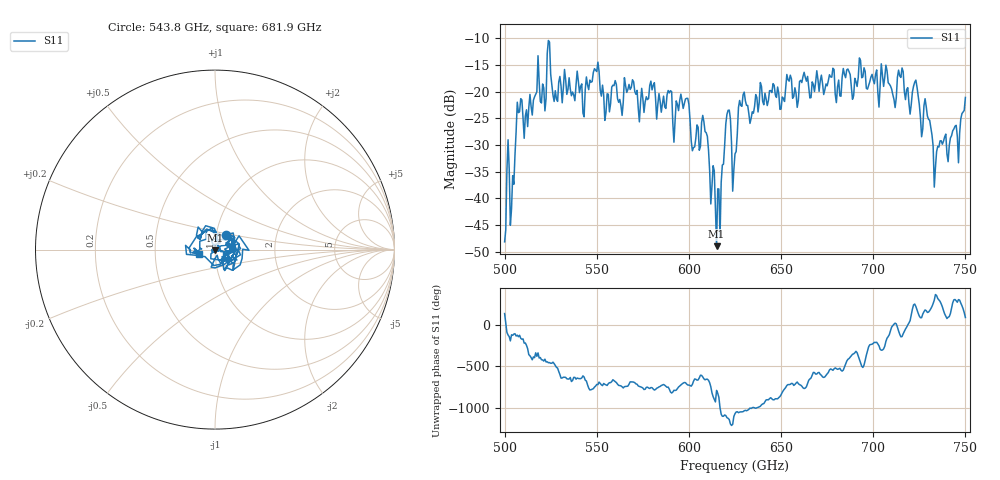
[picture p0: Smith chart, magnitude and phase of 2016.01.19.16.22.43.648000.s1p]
!Created with skrf (http://scikit-rf.org).
# GHz S RI R 50.0
!freq ReS11 ImS11
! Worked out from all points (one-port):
!   401 points, 500 GHz to 750 GHz, reference 50 ohm
!   lowest |S11| = -48.9 dB at 615 GHz (marker M1), VSWR 1.01, Z = 50.1 - j0.339 ohm
!   |S11| at or under -10 dB: start of sweep to end of sweep
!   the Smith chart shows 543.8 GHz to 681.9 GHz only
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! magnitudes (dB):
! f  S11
! 500 GHz  -48.1
! 501.2 GHz  -34.7
! 504.4 GHz  -35.7
! 508.1 GHz  -23.8
! 521.2 GHz  -19.3
! 524.4 GHz  -10.7
! 527.5 GHz  -19.8
! 531.2 GHz  -22.1
! 541.9 GHz  -18.5
! 550 GHz  -16.2
! 562.5 GHz  -21.5
! 593.8 GHz  -22.4
! 598.8 GHz  -21.3
! 602.5 GHz  -30.5
! 608.8 GHz  -27.5
! 615 GHz  -48.9
! 616.2 GHz  -38.2
! 621.2 GHz  -23.5
! 625 GHz  -31.6
! 628.8 GHz  -22.7
! 656.2 GHz  -21.2
! 687.5 GHz  -16.8
! 711.2 GHz  -21.4
! 715 GHz  -17.3
! 718.8 GHz  -19.3
! 723.1 GHz  -17.8
! 734.4 GHz  -31.2
! 750 GHz  -21.1
